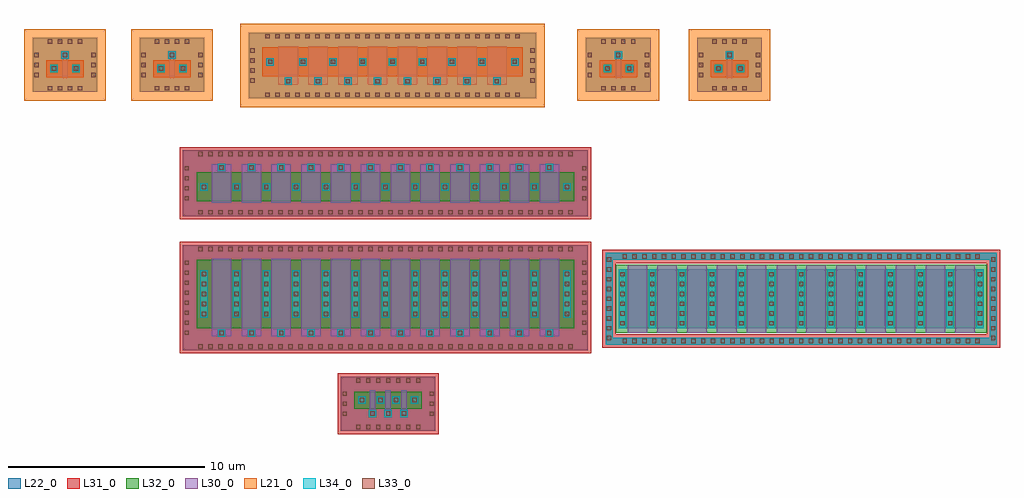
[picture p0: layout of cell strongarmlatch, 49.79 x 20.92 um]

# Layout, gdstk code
import gdstk
lib = gdstk.Library(unit=1e-6, precision=1e-09)
def R(c, l, rs):  # rectangles x0, y0, x1, y1
    for r in rs: c.add(gdstk.rectangle(r[:2], r[2:], *l))
def A(c, l, x, y, w, h, nx, ny, dx, dy):  # array of equal rectangles
    R(c, l, [(x+i*dx, y+j*dy, x+i*dx+w, y+j*dy+h) for i in range(nx) for j in range(ny)])
def P(c, l, *ps):  # polygons
    for p in ps: c.add(gdstk.Polygon(p, *l))
L21_0 = (21, 0)
L22_0 = (22, 0)
L30_0 = (30, 0)
L31_0 = (31, 0)
L32_0 = (32, 0)
L33_0 = (33, 0)
L34_0 = (34, 0)

nfet = lib.new_cell('nfet')
R(nfet, L22_0, [(-1.28,-1.36,19.38,3.99), (-0.42,0,18.52,3)])
A(nfet, L30_0, 0.19, -0.66, 1, 3.96, 12, 1, 1.52, 0)
R(nfet, L31_0, [(-1.45,-1.53,19.55,4.16)])
R(nfet, L32_0, [(-0.59,-0.24,18.69,3.24)])
A(nfet, L33_0, -0.495, -1.28, 0.22, 0.22, 38, 2, 0.51, 4.97)
A(nfet, L33_0, 0.58, -0.59, 0.22, 0.22, 12, 1, 1.52, 0)
A(nfet, L33_0, -1.2, -0.58, 0.22, 0.22, 1, 8, 0, 0.51)
A(nfet, L33_0, 19.08, -0.58, 0.22, 0.22, 1, 8, 0, 0.51)
A(nfet, L33_0, -0.32, 0.37, 0.22, 0.22, 1, 5, 0, 0.51)
A(nfet, L33_0, 1.34, 0.37, 0.22, 0.22, 11, 5, 1.52, 0.51)
A(nfet, L33_0, 18.2, 0.37, 0.22, 0.22, 1, 5, 0, 0.51)
A(nfet, L34_0, 0.5, -0.67, 0.38, 0.38, 12, 1, 1.52, 0)
A(nfet, L34_0, 1.26, 0.29, 0.38, 2.42, 11, 1, 1.52, 0)
R(nfet, L34_0, [(-0.4,0.29,-0.02,2.71), (18.12,0.29,18.5,2.71)])

nfet_2 = lib.new_cell('nfet$2')
R(nfet_2, L22_0, [(-1.28,-0.99,19.38,2.36), (-0.42,0,18.52,1)])
A(nfet_2, L30_0, 0.19, -0.3, 1, 1.96, 12, 1, 1.52, 0)
R(nfet_2, L31_0, [(-1.45,-1.16,19.55,2.53)])
R(nfet_2, L32_0, [(-0.59,-0.24,18.69,1.24)])
A(nfet_2, L33_0, -0.495, -0.91, 0.22, 0.22, 38, 2, 0.51, 2.97)
A(nfet_2, L33_0, -1.2, -0.19, 0.22, 0.22, 1, 4, 0, 0.51)
A(nfet_2, L33_0, 19.08, -0.19, 0.22, 0.22, 1, 4, 0, 0.51)
A(nfet_2, L33_0, 1.34, 0.39, 0.22, 0.22, 11, 1, 1.52, 0)
A(nfet_2, L33_0, 0.58, 1.37, 0.22, 0.22, 12, 1, 1.52, 0)
R(nfet_2, L33_0, [(-0.32,0.39,-0.1,0.61), (18.2,0.39,18.42,0.61)])
A(nfet_2, L34_0, 1.26, 0.31, 0.38, 0.38, 11, 1, 1.52, 0)
A(nfet_2, L34_0, 0.5, 1.29, 0.38, 0.38, 12, 1, 1.52, 0)
R(nfet_2, L34_0, [(-0.4,0.31,-0.02,0.69), (18.12,0.31,18.5,0.69)])

pfet = lib.new_cell('pfet')
R(pfet, L21_0, [(-1.76,-1.81,13.78,2.43)])
R(pfet, L22_0, [(-1.32,-1.37,13.34,1.99), (-0.46,0,12.48,1)])
A(pfet, L30_0, 0.19, -0.68, 1, 1.98, 8, 1, 1.52, 0)
R(pfet, L31_0, [(-0.63,-0.24,12.65,1.24)])
A(pfet, L33_0, -0.475, -1.29, 0.22, 0.22, 26, 2, 0.51, 2.98)
A(pfet, L33_0, 0.58, -0.6, 0.22, 0.22, 8, 1, 1.52, 0)
A(pfet, L33_0, -1.24, -0.565, 0.22, 0.22, 1, 4, 0, 0.51)
A(pfet, L33_0, 13.04, -0.565, 0.22, 0.22, 1, 4, 0, 0.51)
A(pfet, L33_0, 1.34, 0.39, 0.22, 0.22, 7, 1, 1.52, 0)
R(pfet, L33_0, [(-0.34,0.39,-0.12,0.61), (12.14,0.39,12.36,0.61)])
A(pfet, L34_0, 0.5, -0.68, 0.38, 0.38, 8, 1, 1.52, 0)
A(pfet, L34_0, 1.26, 0.31, 0.38, 0.38, 7, 1, 1.52, 0)
R(pfet, L34_0, [(-0.42,0.31,-0.04,0.69), (12.06,0.31,12.44,0.69)])

pfet_2 = lib.new_cell('pfet$2')
R(pfet_2, L21_0, [(-1.76,-1.43,2.42,2.21)])
R(pfet_2, L22_0, [(-1.32,-0.99,1.98,1.77), (-0.46,0,1.12,0.4)])
P(pfet_2, L30_0, [(0.19,-0.3),(0.19,0.7),(0.14,0.7),(0.14,1.08),(0.52,1.08),(0.52,0.7),(0.47,0.7),(0.47,-0.3)])
R(pfet_2, L31_0, [(-0.63,-0.24,1.29,0.64)])
A(pfet_2, L33_0, -0.545, -0.91, 0.22, 0.22, 4, 2, 0.51, 2.38)
A(pfet_2, L33_0, -1.24, -0.23, 0.22, 0.22, 1, 3, 0, 0.51)
A(pfet_2, L33_0, 1.68, -0.23, 0.22, 0.22, 1, 3, 0, 0.51)
R(pfet_2, L33_0, [(-0.34,0.09,-0.12,0.31), (0.78,0.09,1,0.31), (0.22,0.78,0.44,1)])
R(pfet_2, L34_0, [(-0.42,0.01,-0.04,0.39), (0.7,0.01,1.08,0.39), (0.14,0.7,0.52,1.08)])

nfet_3 = lib.new_cell('nfet$3')
R(nfet_3, L22_0, [(-1.28,-1.36,3.54,1.39), (-0.42,0,2.68,0.4)])
P(nfet_3, L30_0, [(0.15,-0.66),(0.15,-0.3),(0.19,-0.3),(0.19,0.7),(0.47,0.7),(0.47,-0.3),(0.51,-0.3),(0.51,-0.66)],
  [(0.95,-0.66),(0.95,-0.3),(0.99,-0.3),(0.99,0.7),(1.27,0.7),(1.27,-0.3),(1.31,-0.3),(1.31,-0.66)],
  [(1.75,-0.66),(1.75,-0.3),(1.79,-0.3),(1.79,0.7),(2.07,0.7),(2.07,-0.3),(2.11,-0.3),(2.11,-0.66)])
R(nfet_3, L31_0, [(-1.45,-1.53,3.71,1.56)])
R(nfet_3, L32_0, [(-0.59,-0.24,2.85,0.64)])
A(nfet_3, L33_0, -0.51, -1.28, 0.22, 0.22, 7, 2, 0.51, 2.37)
A(nfet_3, L33_0, -1.2, -0.605, 0.22, 0.22, 1, 3, 0, 0.51)
A(nfet_3, L33_0, 3.24, -0.605, 0.22, 0.22, 1, 3, 0, 0.51)
A(nfet_3, L33_0, 0.22, -0.59, 0.22, 0.22, 3, 1, 0.8, 0)
R(nfet_3, L33_0, [(-0.32,0.09,-0.1,0.31), (0.62,0.09,0.84,0.31), (1.42,0.09,1.64,0.31), (2.36,0.09,2.58,0.31)])
A(nfet_3, L34_0, 0.14, -0.67, 0.38, 0.38, 3, 1, 0.8, 0)
R(nfet_3, L34_0, [(-0.4,0.01,-0.02,0.39), (0.54,0.01,0.92,0.39), (1.34,0.01,1.72,0.39), (2.28,0.01,2.66,0.39)])

nfet_4 = lib.new_cell('nfet$4')
R(nfet_4, L22_0, [(0,0,18.6,3)])
P(nfet_4, L22_0, [(-0.68,-0.84),(-0.68,3.48),(-0.32,3.48),(-0.32,-0.48),(18.92,-0.48),(18.92,3.48),(-0.68,3.48),(-0.68,3.84),(19.28,3.84),(19.28,-0.84)])
A(nfet_4, L30_0, 0.44, -0.22, 1, 3.44, 12, 1, 1.52, 0)
P(nfet_4, L31_0, [(-0.84,-1),(-0.84,3.32),(-0.16,3.32),(-0.16,-0.32),(18.76,-0.32),(18.76,3.32),(-0.84,3.32),(-0.84,4),(19.44,4),(19.44,-1)])
R(nfet_4, L32_0, [(-0.16,-0.23,18.76,3.23)])
A(nfet_4, L33_0, 0.19, -0.77, 0.22, 0.22, 37, 2, 0.5, 4.32)
A(nfet_4, L33_0, -0.61, -0.61, 0.22, 0.22, 1, 9, 0, 0.5)
A(nfet_4, L33_0, 18.99, -0.61, 0.22, 0.22, 1, 9, 0, 0.5)
A(nfet_4, L33_0, 0.07, 0.14, 0.22, 0.22, 13, 6, 1.52, 0.5)
A(nfet_4, L34_0, -0.01, -0.01, 0.38, 3.02, 13, 1, 1.52, 0)
P(nfet_4, L34_0, [(-0.68,-0.84),(-0.68,3.48),(-0.32,3.48),(-0.32,-0.48),(18.92,-0.48),(18.92,3.48),(-0.68,3.48),(-0.68,3.84),(19.28,3.84),(19.28,-0.84)])

strongarmlatch = lib.new_cell('strongarmlatch')
strongarmlatch.add(gdstk.Reference(nfet, (1.91,3.94)))
strongarmlatch.add(gdstk.Reference(nfet, (1.91,3.94)))
strongarmlatch.add(gdstk.Reference(nfet_2, (1.91,10.41)))
strongarmlatch.add(gdstk.Reference(pfet, (5.31,16.79)))
strongarmlatch.add(gdstk.Reference(pfet_2, (22.51,16.74)))
strongarmlatch.add(gdstk.Reference(pfet_2, (28.18,16.74)))
strongarmlatch.add(gdstk.Reference(pfet_2, (-0.26,16.74)))
strongarmlatch.add(gdstk.Reference(pfet_2, (-5.72,16.74)))
strongarmlatch.add(gdstk.Reference(nfet_3, (9.97,-0.17)))
strongarmlatch.add(gdstk.Reference(nfet_4, (22.87,3.7)))

lib.write_gds('strongarmlatch.gds')
